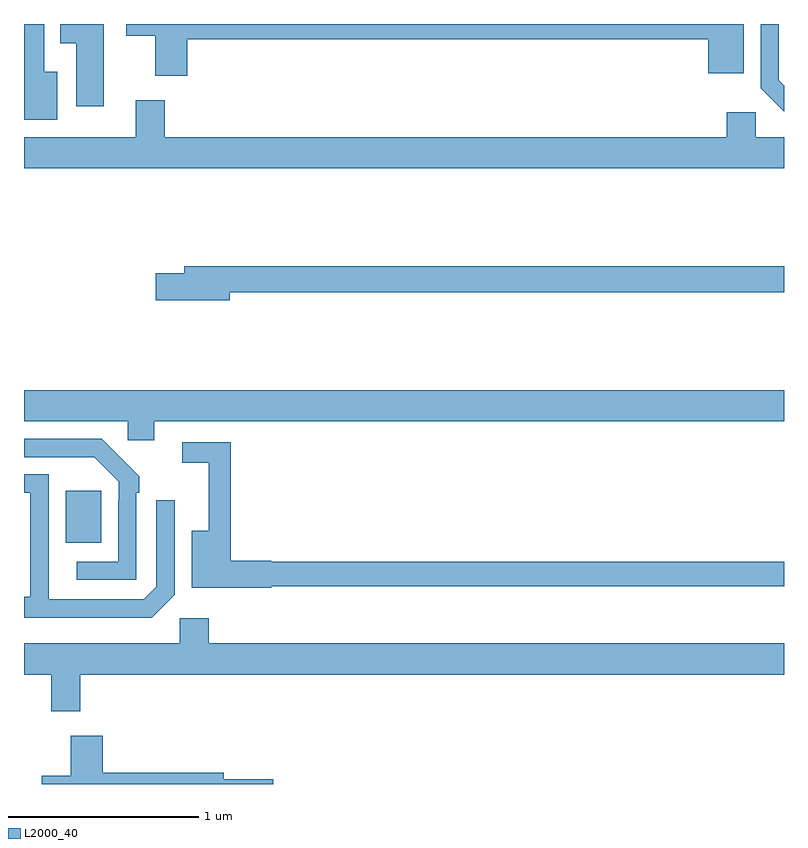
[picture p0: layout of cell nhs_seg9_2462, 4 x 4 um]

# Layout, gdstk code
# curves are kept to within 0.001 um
import gdstk
lib = gdstk.Library(unit=1e-6, precision=1e-09)
def R(c, l, rs):  # rectangles x0, y0, x1, y1
    for r in rs: c.add(gdstk.rectangle(r[:2], r[2:], *l))
def P(c, l, *ps):  # polygons
    for p in ps: c.add(gdstk.Polygon(p, *l))
L2000_40 = (2000, 40)

nhs_seg9_2462 = lib.new_cell('nhs_seg9_2462')
R(nhs_seg9_2462, L2000_40, [(251.219,1207.769,251.407,1208.044)])
P(nhs_seg9_2462, L2000_40, [(251.858,1210.42),(254.6,1210.42),(254.6,1210.241),(254.788,1210.241),(254.788,1210.498),(254.746,1210.498),(254.746,1210.5),(251.538,1210.5),(251.538,1210.438),(251.69,1210.438),(251.69,1210.227),(251.858,1210.227)],
  [(251.419,1210.5),(251.192,1210.5),(251.192,1210.4),(251.276,1210.4),(251.276,1210.068),(251.419,1210.068)],
  [(251.176,1210.249),(251.107,1210.249),(251.107,1210.5),(251,1210.5),(251,1209.995),(251.176,1209.995)],
  [(255,1210.176),(254.973,1210.203),(254.973,1210.5),(254.877,1210.5),(254.877,1210.161),(254.998,1210.04),(255,1210.04)],
  [(255,1209.904),(254.85,1209.904),(254.85,1210.036),(254.699,1210.036),(254.699,1209.904),(251.741,1209.904),(251.741,1210.099),(251.588,1210.099),(251.588,1209.904),(251,1209.904),(251,1209.74),(255,1209.74)],
  [(252.082,1209.088),(255,1209.088),(255,1209.224),(251.843,1209.224),(251.843,1209.188),(251.694,1209.188),(251.694,1209.046),(252.082,1209.046)],
  [(251.686,1208.408),(255,1208.408),(255,1208.572),(251,1208.572),(251,1208.408),(251.547,1208.408),(251.547,1208.31),(251.686,1208.31)],
  [(251.592,1208.033),(251.607,1208.033),(251.607,1208.121),(251.41,1208.316),(251,1208.316),(251,1208.22),(251.371,1208.22),(251.499,1208.091),(251.499,1207.991),(251.496,1207.991),(251.496,1207.671),(251.277,1207.671),(251.277,1207.575),(251.592,1207.575)],
  [(252.3,1207.542),(255,1207.542),(255,1207.67),(252.3,1207.67),(252.3,1207.676),(252.089,1207.676),(252.089,1208.298),(251.832,1208.298),(251.832,1208.19),(251.972,1208.19),(251.972,1207.834),(251.882,1207.834),(251.882,1207.534),(252.3,1207.534)],
  [(251.793,1207.497),(251.793,1207.993),(251.697,1207.993),(251.697,1207.539),(251.631,1207.473),(251.131,1207.473),(251.13,1208.13),(251,1208.13),(251,1208.034),(251.034,1208.034),(251.034,1207.486),(251,1207.486),(251,1207.376),(251.672,1207.376)],
  [(251.297,1207.076),(255,1207.076),(255,1207.24),(251.972,1207.24),(251.972,1207.372),(251.82,1207.372),(251.82,1207.24),(251,1207.24),(251,1207.076),(251.144,1207.076),(251.144,1206.882),(251.297,1206.882)],
  [(252.313,1206.524),(252.052,1206.524),(252.052,1206.56),(251.414,1206.56),(251.414,1206.754),(251.246,1206.754),(251.246,1206.543),(251.094,1206.543),(251.094,1206.5),(252.313,1206.5)])

lib.write_gds('nhs_seg9_2462.gds')
